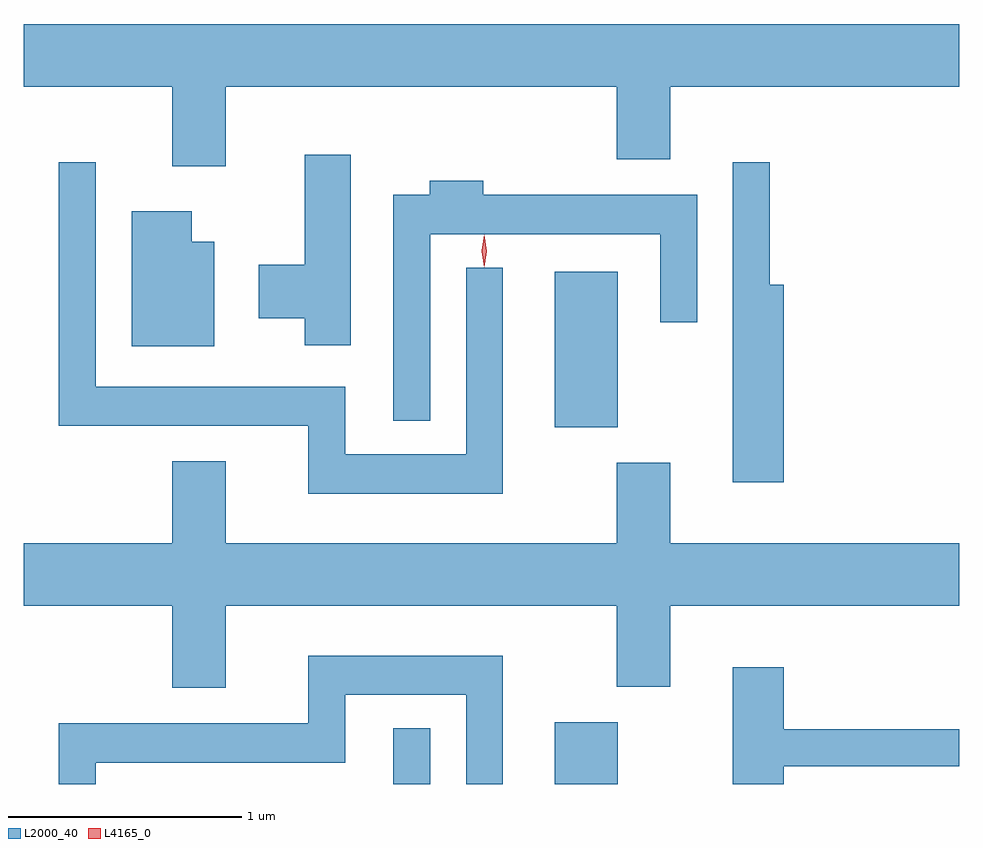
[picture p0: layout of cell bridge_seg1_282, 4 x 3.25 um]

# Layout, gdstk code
import gdstk
lib = gdstk.Library(unit=1e-6, precision=1e-09)
def R(c, l, rs):  # rectangles x0, y0, x1, y1
    for r in rs: c.add(gdstk.rectangle(r[:2], r[2:], *l))
def P(c, l, *ps):  # polygons
    for p in ps: c.add(gdstk.Polygon(p, *l))
L2000_40 = (2000, 40)
L4165_0 = (4165, 0)

bridge_seg1_282 = lib.new_cell('bridge_seg1_282')
R(bridge_seg1_282, L2000_40, [(869.096,901.035,869.254,901.273), (869.786,901.035,870.054,901.299), (869.786,902.561,870.054,903.224)])
P(bridge_seg1_282, L2000_40, [(868.379,904.016),(870.051,904.016),(870.051,903.706),(870.279,903.706),(870.279,904.016),(871.515,904.016),(871.515,904.284),(867.515,904.284),(867.515,904.016),(868.151,904.016),(868.151,903.676),(868.379,903.676)],
  [(868.914,903.724),(868.716,903.724),(868.716,903.254),(868.521,903.254),(868.521,903.026),(868.716,903.026),(868.716,902.911),(868.914,902.911)],
  [(869.564,903.243),(869.406,903.243),(869.406,902.444),(868.889,902.444),(868.889,902.734),(867.824,902.734),(867.824,903.693),(867.666,903.693),(867.666,902.566),(868.731,902.566),(868.731,902.276),(869.564,902.276)],
  [(870.764,903.169),(870.704,903.169),(870.704,903.693),(870.546,903.693),(870.546,902.326),(870.764,902.326)],
  [(869.254,903.386),(870.236,903.386),(870.236,903.008),(870.394,903.008),(870.394,903.554),(869.479,903.554),(869.479,903.614),(869.251,903.614),(869.251,903.554),(869.096,903.554),(869.096,902.588),(869.254,902.588)],
  [(868.329,903.354),(868.234,903.354),(868.234,903.484),(867.976,903.484),(867.976,902.906),(868.329,902.906)],
  [(868.379,901.796),(870.051,901.796),(870.051,901.451),(870.279,901.451),(870.279,901.796),(871.515,901.796),(871.515,902.064),(870.279,902.064),(870.279,902.409),(870.051,902.409),(870.051,902.064),(868.379,902.064),(868.379,902.414),(868.151,902.414),(868.151,902.064),(867.515,902.064),(867.515,901.796),(868.151,901.796),(868.151,901.446),(868.379,901.446)],
  [(867.824,901.126),(868.889,901.126),(868.889,901.416),(869.406,901.416),(869.406,901.035),(869.564,901.035),(869.564,901.584),(868.731,901.584),(868.731,901.294),(867.666,901.294),(867.666,901.035),(867.824,901.035)],
  [(870.764,901.111),(871.515,901.111),(871.515,901.269),(870.764,901.269),(870.764,901.534),(870.546,901.534),(870.546,901.035),(870.764,901.035)])
P(bridge_seg1_282, L4165_0, [(869.484,903.244),(869.484,903.244),(869.474,903.313),(869.484,903.383),(869.484,903.383),(869.485,903.383),(869.494,903.313),(869.485,903.244)],
  [(869.484,903.247),(869.483,903.248),(869.474,903.314),(869.483,903.38),(869.483,903.38),(869.484,903.38),(869.493,903.314),(869.484,903.248)])

lib.write_gds('bridge_seg1_282.gds')
